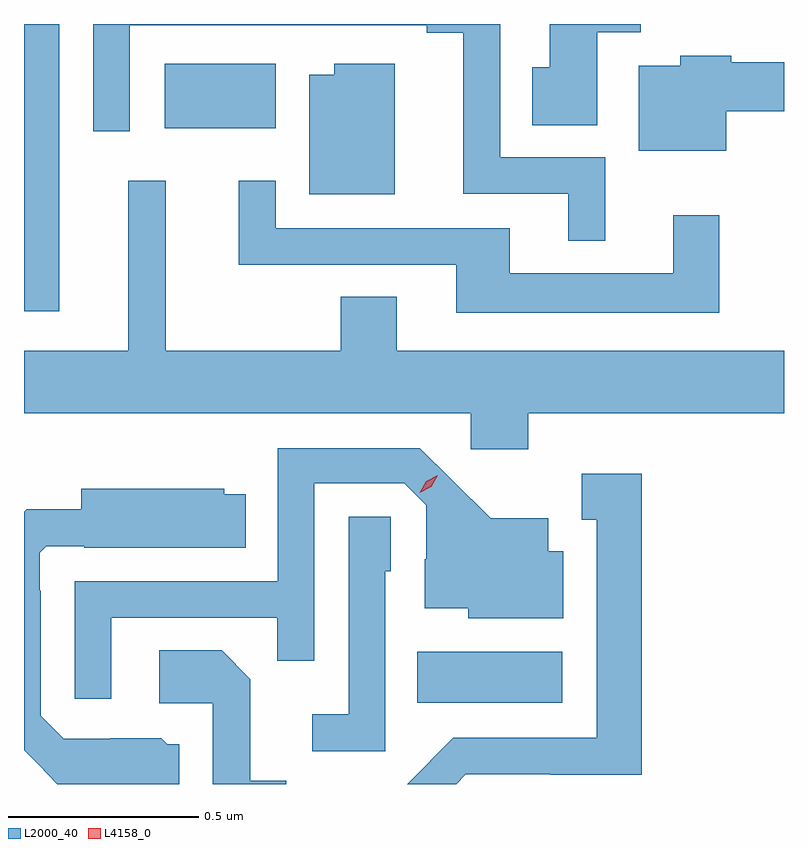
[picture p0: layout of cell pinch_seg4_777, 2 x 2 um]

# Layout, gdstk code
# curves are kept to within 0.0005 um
import gdstk
lib = gdstk.Library(unit=1e-6, precision=1e-09)
def R(c, l, rs):  # rectangles x0, y0, x1, y1
    for r in rs: c.add(gdstk.rectangle(r[:2], r[2:], *l))
def P(c, l, *ps):  # polygons
    for p in ps: c.add(gdstk.Polygon(p, *l))
L2000_40 = (2000, 40)
L4158_0 = (4158, 0)

pinch_seg4_777 = lib.new_cell('pinch_seg4_777')
R(pinch_seg4_777, L2000_40, [(784.276,814.706,784.657,814.84), (783.241,815.736,783.334,816.492), (783.611,816.218,783.904,816.388)])
P(pinch_seg4_777, L2000_40, [(784.75,816.47),(784.864,816.47),(784.864,816.492),(784.625,816.492),(784.625,816.378),(784.579,816.378),(784.579,816.226),(784.75,816.226)],
  [(784.771,816.141),(784.494,816.141),(784.494,816.492),(783.423,816.492),(783.423,816.21),(783.519,816.21),(783.519,816.489),(784.301,816.489),(784.301,816.469),(784.397,816.469),(784.397,816.045),(784.673,816.045),(784.673,815.921),(784.771,815.921)],
  [(785.089,816.262),(785.241,816.262),(785.241,816.391),(785.102,816.391),(785.102,816.409),(784.968,816.409),(784.968,816.382),(784.859,816.382),(784.859,816.158),(785.089,816.158)],
  [(784.216,816.388),(784.058,816.388),(784.058,816.358),(783.992,816.358),(783.992,816.044),(784.216,816.044)],
  [(784.568,815.468),(785.241,815.468),(785.241,815.632),(784.222,815.632),(784.222,815.774),(784.075,815.774),(784.075,815.632),(783.614,815.632),(783.614,816.079),(783.515,816.079),(783.515,815.632),(783.241,815.632),(783.241,815.468),(784.416,815.468),(784.416,815.373),(784.568,815.373)],
  [(785.071,815.989),(784.949,815.989),(784.949,815.836),(784.519,815.836),(784.519,815.955),(783.903,815.955),(783.903,816.079),(783.806,816.079),(783.806,815.859),(784.379,815.859),(784.379,815.732),(785.071,815.732)],
  [(783.471,814.929),(783.907,814.929),(783.907,814.816),(784.005,814.816),(784.005,815.283),(784.242,815.283),(784.299,815.226),(784.299,815.084),(784.295,815.084),(784.295,814.955),(784.41,814.955),(784.41,814.928),(784.66,814.928),(784.66,815.104),(784.621,815.104),(784.621,815.191),(784.469,815.191),(784.282,815.376),(783.909,815.376),(783.909,815.025),(783.375,815.025),(783.375,814.716),(783.471,814.716)],
  [(784.404,814.518),(784.626,814.518),(784.626,814.517),(784.867,814.517),(784.867,815.308),(784.709,815.308),(784.709,815.187),(784.748,815.187),(784.748,814.614),(784.371,814.614),(784.249,814.492),(784.378,814.492)],
  [(783.649,814.596),(783.618,814.596),(783.602,814.612),(783.468,814.612),(783.468,814.611),(783.345,814.611),(783.285,814.671),(783.285,815),(783.282,815),(783.282,815.1),(783.3,815.118),(783.4,815.118),(783.4,815.114),(783.824,815.114),(783.824,815.254),(783.768,815.254),(783.768,815.269),(783.392,815.269),(783.392,815.215),(783.248,815.215),(783.241,815.208),(783.241,814.581),(783.329,814.492),(783.649,814.492)],
  [(784.191,815.052),(784.206,815.052),(784.206,815.195),(784.095,815.195),(784.095,814.675),(783.999,814.675),(783.999,814.578),(784.191,814.578)],
  [(783.931,814.501),(783.837,814.501),(783.837,814.768),(783.761,814.844),(783.597,814.844),(783.597,814.704),(783.738,814.704),(783.738,814.492),(783.931,814.492)])
P(pinch_seg4_777, L4158_0, [(784.283,815.258),(784.283,815.259),(784.3,815.289),(784.33,815.305),(784.33,815.305),(784.33,815.304),(784.313,815.274),(784.283,815.258)])

lib.write_gds('pinch_seg4_777.gds')
